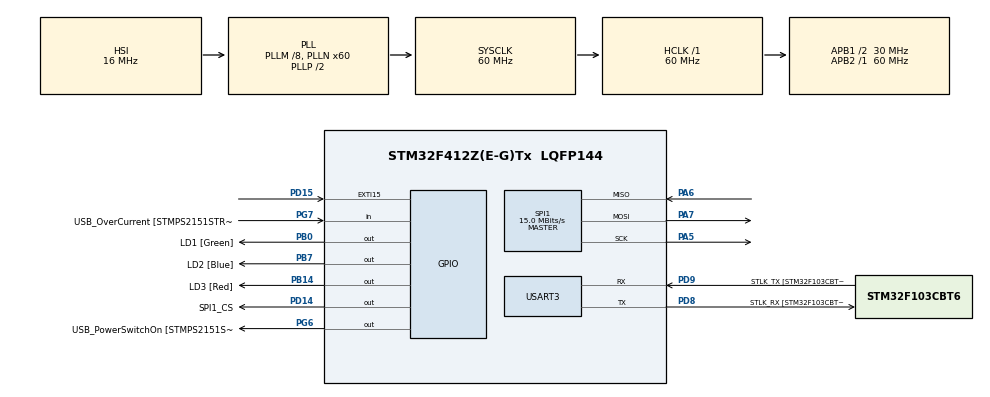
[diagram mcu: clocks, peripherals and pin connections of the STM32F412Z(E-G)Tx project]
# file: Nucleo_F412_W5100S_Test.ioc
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Dma.Request0=SPI1_RX
Dma.Request1=SPI1_TX
Dma.SPI1_RX.0.Direction=DMA_PERIPH_TO_MEMORY
Dma.SPI1_RX.0.FIFOMode=DMA_FIFOMODE_DISABLE
Dma.SPI1_RX.0.Instance=DMA2_Stream0
Dma.SPI1_RX.0.MemDataAlignment=DMA_MDATAALIGN_BYTE
Dma.SPI1_RX.0.MemInc=DMA_MINC_ENABLE
Dma.SPI1_RX.0.Mode=DMA_NORMAL
Dma.SPI1_RX.0.PeriphDataAlignment=DMA_PDATAALIGN_BYTE
Dma.SPI1_RX.0.PeriphInc=DMA_PINC_DISABLE
Dma.SPI1_RX.0.Priority=DMA_PRIORITY_VERY_HIGH
Dma.SPI1_TX.1.Direction=DMA_MEMORY_TO_PERIPH
Dma.SPI1_TX.1.FIFOMode=DMA_FIFOMODE_DISABLE
Dma.SPI1_TX.1.Instance=DMA2_Stream2
Dma.SPI1_TX.1.MemDataAlignment=DMA_MDATAALIGN_BYTE
Dma.SPI1_TX.1.MemInc=DMA_MINC_ENABLE
Dma.SPI1_TX.1.Mode=DMA_NORMAL
Dma.SPI1_TX.1.PeriphDataAlignment=DMA_PDATAALIGN_BYTE
Dma.SPI1_TX.1.PeriphInc=DMA_PINC_DISABLE
Dma.SPI1_TX.1.Priority=DMA_PRIORITY_VERY_HIGH
Mcu.Family=STM32F4
Mcu.Name=STM32F412Z(E-G)Tx
Mcu.Package=LQFP144
NVIC.DMA2_Stream0_IRQn=true\:0\:0\:false\:false\:true\:false\:true\:true
NVIC.DMA2_Stream2_IRQn=true\:0\:0\:false\:false\:true\:false\:true\:true
NVIC.EXTI15_10_IRQn=true\:0\:0\:false\:false\:true\:true\:true\:true
NVIC.PriorityGroup=NVIC_PRIORITYGROUP_4
NVIC.SPI1_IRQn=true\:0\:0\:false\:false\:true\:true\:true\:true
NVIC.USART3_IRQn=true\:0\:0\:false\:false\:true\:true\:true\:true
PA10.GPIO_Label=USB_ID
PA10.Signal=USB_OTG_FS_ID
PA11.GPIO_Label=USB_DM
PA11.Signal=USB_OTG_FS_DM
PA12.GPIO_Label=USB_DP
PA12.Signal=USB_OTG_FS_DP
PA13.GPIO_Label=TMS
PA13.Mode=Serial_Wire
PA13.Signal=SYS_JTMS-SWDIO
PA14.GPIO_Label=TCK
PA14.Mode=Serial_Wire
PA14.Signal=SYS_JTCK-SWCLK
PA5.Mode=Full_Duplex_Master
PA5.Signal=SPI1_SCK
PA6.Mode=Full_Duplex_Master
PA6.Signal=SPI1_MISO
PA7.Mode=Full_Duplex_Master
PA7.Signal=SPI1_MOSI
PA8.GPIO_Label=USB_SOF [TP1]
PA8.Signal=USB_OTG_FS_SOF
PA9.GPIO_Label=USB_VBUS
PA9.Signal=USB_OTG_FS_VBUS
PB0.GPIO_Label=LD1 [Green]
PB0.Signal=GPIO_Output
PB14.GPIO_Label=LD3 [Red]
PB14.GPIO_Speed=GPIO_SPEED_FREQ_LOW
PB14.Signal=GPIO_Output
PB3.GPIO_Label=SWO
PB3.Signal=SYS_JTDO-SWO
PB7.GPIO_Label=LD2 [Blue]
PB7.Signal=GPIO_Output
PC14-OSC32_IN.Mode=LSE-External-Oscillator
PC14-OSC32_IN.Signal=RCC_OSC32_IN
PC15-OSC32_OUT.Mode=LSE-External-Oscillator
PC15-OSC32_OUT.Signal=RCC_OSC32_OUT
PD14.GPIO_Label=SPI1_CS
PD14.GPIO_Speed=GPIO_SPEED_FREQ_VERY_HIGH
PD14.Signal=GPIO_Output
PD15.GPIO_ModeDefaultEXTI=GPIO_MODE_IT_FALLING
PD15.GPIO_PuPd=GPIO_PULLUP
PD15.Signal=GPXTI15
PD8.GPIO_Label=STLK_RX [STM32F103CBT6_PA3]
PD8.Mode=Asynchronous
PD8.Signal=USART3_TX
PD9.GPIO_Label=STLK_TX [STM32F103CBT6_PA2]
PD9.Mode=Asynchronous
PD9.Signal=USART3_RX
PG6.GPIO_Label=USB_PowerSwitchOn [STMPS2151STR_EN]
PG6.Signal=GPIO_Output
PG7.GPIO_Label=USB_OverCurrent [STMPS2151STR_FAULT]
PG7.Signal=GPIO_Input
PH0\ -\ OSC_IN.GPIO_Label=MCO
PH0\ -\ OSC_IN.Signal=RCC_OSC_IN
ProjectManager.HeapSize=0x200
ProjectManager.StackSize=0x400
ProjectManager.TargetToolchain=STM32CubeIDE
RCC.48MHZClocksFreq_Value=24000000
RCC.AHBFreq_Value=60000000
RCC.APB1CLKDivider=RCC_HCLK_DIV2
RCC.APB1Freq_Value=30000000
RCC.APB1TimFreq_Value=60000000
RCC.APB2Freq_Value=60000000
RCC.APB2TimFreq_Value=60000000
RCC.CSICalibrationValue=16
RCC.CortexFreq_Value=60000000
RCC.HCLKFreq_Value=60000000
RCC.HSE_VALUE=8000000
RCC.HSI_VALUE=16000000
RCC.PLL1_VCI_Range=RCC_PLL1VCIRANGE_3
RCC.PLL1_VCO_SEL=RCC_PLL1VCOWIDE
RCC.PLL2FRACN=0
RCC.PLL2_VCI_Range=RCC_PLL2VCIRANGE_2
RCC.PLL2_VCO_SEL=RCC_PLL2VCOWIDE
RCC.PLL3FRACN=0
RCC.PLL3_VCI_Range=RCC_PLL3VCIRANGE_3
RCC.PLL3_VCO_SEL=RCC_PLL3VCOWIDE
RCC.PLLFRACN=0
RCC.PLLM=8
RCC.PLLMUL=RCC_PLL_MUL9
RCC.PLLN=60
RCC.PLLQ=8
RCC.PRESCALERUSB=RCC_USBCLKSOURCE_PLL_DIV1_5
RCC.SYSCLKFreq_VALUE=60000000
RCC.SYSCLKSource=RCC_SYSCLKSOURCE_PLLCLK
RCC.SYSCLKSourceVirtual=RCC_SYSCLKSOURCE_PLLCLK
RCC.USBFreq_Value=15000000
RCC.VCOOutputFreq_Value=120000000
SPI1.BaudRatePrescaler=SPI_BAUDRATEPRESCALER_4
SPI1.CalculateBaudRate=15.0 MBits/s
SPI1.Direction=SPI_DIRECTION_2LINES
SPI1.Mode=SPI_MODE_MASTER
SPI1.VirtualType=VM_MASTER
USART3.VirtualMode=VM_ASYNC
board=NUCLEO-F412ZG

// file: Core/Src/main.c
/* USER CODE BEGIN Header */
/**
  ******************************************************************************
  * @file           : main.c
  * @brief          : Main program body
  ******************************************************************************
  * @attention
  *
  * Copyright (c) 2023 STMicroelectronics.
  * All rights reserved.
  *
  * This software is licensed under terms that can be found in the LICENSE file
  * in the root directory of this software component.
  * If no LICENSE file comes with this software, it is provided AS-IS.
  *
  ******************************************************************************
  */
/* USER CODE END Header */
#include "main.h"

/* USER CODE BEGIN Includes */
#include "loopback.h"
#include "wizchip_conf.h"

/* USER CODE END Includes */

/* USER CODE BEGIN PTD */
#define ETH_MAX_BUF_SIZE 2048
#define True_STD
#define SEND_SIZE 41820
/* USER CODE END PTD */

SPI_HandleTypeDef hspi1;
DMA_HandleTypeDef hdma_spi1_rx;
DMA_HandleTypeDef hdma_spi1_tx;

UART_HandleTypeDef huart3;

/* USER CODE BEGIN PV */
wiz_NetInfo defaultNetInfo = { .mac = {0x00,0x08,0xdc,0xff,0xee,0xdd},
							//.ip = {192,168,15,111},
							.ip = {192,168,11,111},
							.sn = {255,255,255,0},
							//.gw = {192,168,15,1},
							.gw = {192,168,11,1},
							.dns = {168, 126, 63, 1},
							.dhcp = NETINFO_STATIC};

unsigned char gServer_IP[4] = {192,168,15,7};
unsigned char ethBuf0[ETH_MAX_BUF_SIZE];
/* USER CODE END PV */

void SystemClock_Config(void);
static void MX_GPIO_Init(void);
static void MX_DMA_Init(void);
static void MX_USART3_UART_Init(void);
static void MX_SPI1_Init(void);
/* USER CODE BEGIN PFP */
uint8_t rxData;
uint8_t send_flag = 0;
uint8_t ETH_INT_Flag = 0;

uint8_t rx_buffer[2048]= {0,};
int rx_index = 0;
uint8_t rx_flag =0;
#ifdef KEIL
     #ifdef __GNUC__
     //With GCC, small printf (option LD Linker->Libraries->Small printf
     //set to 'Yes') calls __io_putchar()
         #define PUTCHAR_PROTOTYPE int __io_putchar(int ch)
		#else
				 #define PUTCHAR_PROTOTYPE int fputc(int ch, FILE *f)
		#endif /* __GNUC__*/
#endif

#ifdef True_STD
	int _write(int fd, char *str, int len)
	{
		for(int i=0; i<len; i++)
		{
			HAL_UART_Transmit(&huart3, (uint8_t *)&str[i], 1, 0xFFFF);
		}
		return len;
	}
#endif

void HAL_UART_RxCpltCallback(UART_HandleTypeDef *huart) {

    /*
        This will be called once data is received successfully,
        via interrupts.
    */

     /*
       loop back received data
     */
     HAL_UART_Receive_IT(&huart3, &rxData, 1);
     if (rxData == '\n')
	 {
	   if (rx_buffer[rx_index - 1] == '\r')
	   {
		 rx_index--;
		 rx_flag = 1;
		 rx_buffer[rx_index] = 0;
	   }
	   else
	   {
		 rx_index = 0;
		 HAL_UART_Transmit(&huart3, "not support format\r\n", 20, 1000);
	   }
	 }
	 else if (rxData == 0x08) // back space
	 {
	   rx_index--;
	 }
	 else
	 {
	   rx_buffer[rx_index++] = rxData;
	 }
     HAL_UART_Transmit(&huart3, &rxData, 1, 1000);
}

void HAL_GPIO_EXTI_Callback(uint16_t GPIO_Pin)
{
	if(GPIO_Pin == GPIO_PIN_15)
	{
		ETH_INT_Flag = 1;
	}
}
void csEnable(void)
{
	HAL_GPIO_WritePin(SPI1_CS_GPIO_Port, SPI1_CS_Pin, GPIO_PIN_RESET);
}

void csDisable(void)
{
	HAL_GPIO_WritePin(SPI1_CS_GPIO_Port, SPI1_CS_Pin, GPIO_PIN_SET);
}

void spiWriteByte(uint8_t tx)
{
	uint8_t rx;
  while (HAL_SPI_GetState(&hspi1) != HAL_SPI_STATE_READY);
	HAL_SPI_TransmitReceive(&hspi1, &tx, &rx, 1, 10);
  while (HAL_SPI_GetState(&hspi1) == HAL_SPI_STATE_BUSY_TX);

}

uint8_t spiReadByte(void)
{
	uint8_t rx = 0, tx = 0xFF;
  while (HAL_SPI_GetState(&hspi1) != HAL_SPI_STATE_READY);
	HAL_SPI_TransmitReceive(&hspi1, &tx, &rx, 1, 10);
  while (HAL_SPI_GetState(&hspi1) == HAL_SPI_STATE_BUSY_RX);
	return rx;
}
static void wizchip_read_burst(uint8_t *pBuf, uint16_t len)
{
#if 1
	HAL_SPI_Receive_DMA(&hspi1, pBuf, len);
  while (HAL_DMA_GetState(hspi1.hdmarx) == HAL_DMA_STATE_BUSY);
  while (HAL_SPI_GetState(&hspi1) == HAL_SPI_STATE_BUSY_RX);
#else
  uint8_t tx[SEND_SIZE] = {0,};
    while (HAL_SPI_GetState(&hspi1) != HAL_SPI_STATE_READY);
  	HAL_SPI_TransmitReceive(&hspi1, &tx, pBuf, len, 2);
    while (HAL_SPI_GetState(&hspi1) == HAL_SPI_STATE_BUSY_RX);
#endif

	//return;
}

static void wizchip_write_burst(uint8_t *pBuf, uint16_t len)
{
#if 1
  HAL_SPI_Transmit_DMA(&hspi1, pBuf, len);
  while (HAL_DMA_GetState(hspi1.hdmatx) == HAL_DMA_STATE_BUSY);
  while (HAL_SPI_GetState(&hspi1) == HAL_SPI_STATE_BUSY_TX);
#else
  uint8_t rx[SEND_SIZE] = {0,};
    while (HAL_SPI_GetState(&hspi1) != HAL_SPI_STATE_READY);
  	HAL_SPI_TransmitReceive(&hspi1, pBuf, &rx, len, 2);
    while (HAL_SPI_GetState(&hspi1) == HAL_SPI_STATE_BUSY_RX);
#endif

	//return;
}
void print_network_information()
{
	wiz_NetInfo gWIZNETINFO;
	wizchip_getnetinfo(&gWIZNETINFO);

	printf("Mac address: %02x:%02x:%02x:%02x:%02x:%02x\r\n",gWIZNETINFO.mac[0],gWIZNETINFO.mac[1],gWIZNETINFO.mac[2],gWIZNETINFO.mac[3],gWIZNETINFO.mac[4],gWIZNETINFO.mac[5]);
	printf("IP address : %d.%d.%d.%d\r\n",gWIZNETINFO.ip[0],gWIZNETINFO.ip[1],gWIZNETINFO.ip[2],gWIZNETINFO.ip[3]);
	printf("SM Mask	   : %d.%d.%d.%d\r\n",gWIZNETINFO.sn[0],gWIZNETINFO.sn[1],gWIZNETINFO.sn[2],gWIZNETINFO.sn[3]);
	printf("Gate way   : %d.%d.%d.%d\r\n",gWIZNETINFO.gw[0],gWIZNETINFO.gw[1],gWIZNETINFO.gw[2],gWIZNETINFO.gw[3]);
	printf("DNS Server : %d.%d.%d.%d\r\n",gWIZNETINFO.dns[0],gWIZNETINFO.dns[1],gWIZNETINFO.dns[2],gWIZNETINFO.dns[3]);
}

void Display_Net_Conf()
{
	uint8_t tmpstr[6] = {0,};
	wiz_NetInfo gWIZNETINFO;

	ctlnetwork(CN_GET_NETINFO, (void*) &gWIZNETINFO);
	ctlwizchip(CW_GET_ID,(void*)tmpstr);

	// Display Network Information
	if(gWIZNETINFO.dhcp == NETINFO_DHCP) printf("\r\n===== %s NET CONF : DHCP =====\r\n",(char*)tmpstr);
		else printf("\r\n===== %s NET CONF : Static =====\r\n",(char*)tmpstr);

	printf("\r\nMAC: %02X:%02X:%02X:%02X:%02X:%02X\r\n", gWIZNETINFO.mac[0], gWIZNETINFO.mac[1], gWIZNETINFO.mac[2], gWIZNETINFO.mac[3], gWIZNETINFO.mac[4], gWIZNETINFO.mac[5]);
	printf("IP: %d.%d.%d.%d\r\n", gWIZNETINFO.ip[0], gWIZNETINFO.ip[1], gWIZNETINFO.ip[2], gWIZNETINFO.ip[3]);
	printf("GW: %d.%d.%d.%d\r\n", gWIZNETINFO.gw[0], gWIZNETINFO.gw[1], gWIZNETINFO.gw[2], gWIZNETINFO.gw[3]);
	printf("SN: %d.%d.%d.%d\r\n", gWIZNETINFO.sn[0], gWIZNETINFO.sn[1], gWIZNETINFO.sn[2], gWIZNETINFO.sn[3]);
	printf("DNS: %d.%d.%d.%d\r\n", gWIZNETINFO.dns[0], gWIZNETINFO.dns[1], gWIZNETINFO.dns[2], gWIZNETINFO.dns[3]);
}
void W5100S_Initialze(void)
{
	intr_kind temp;
	//unsigned char W5100S_AdrSet[2][4] = {{2,2,2,2},{2,2,2,2}};
  unsigned char W5100S_AdrSet[2][4] = {{8,0,0,0},{8,0,0,0}};
	csDisable();
	/*
	 */
	reg_wizchip_cs_cbfunc(csEnable, csDisable);
	reg_wizchip_spi_cbfunc(spiReadByte,spiWriteByte);
  reg_wizchip_spiburst_cbfunc(wizchip_read_burst, wizchip_write_burst);
  //reg_wizchip_spi_cbfunc(spiReadByte, spiWriteByte, wizchip_read_burst, wizchip_write_burst);
	temp = IK_DEST_UNREACH;

	if(ctlwizchip(CW_INIT_WIZCHIP,(void*)W5100S_AdrSet) == -1)
	{
		printf("W5100S initialized fail.\r\n");
	}

	if(ctlwizchip(CW_SET_INTRMASK,&temp) == -1)
	{
		printf("W5100S interrupt\r\n");
	}

	do{//check phy status.
		if(ctlwizchip(CW_GET_PHYLINK,(void*)&temp) == -1){
			printf("Unknown PHY link status.\r\n");
		}
	}while(temp == PHY_LINK_OFF);

}
uint32_t get_time(void)
{
    return HAL_GetTick();
}
uint16_t CLI_Process(void);
/* USER CODE END PFP */

int main(void)
{
  /* USER CODE BEGIN 1 */
  uint8_t u_sn = 0, t_sn = 1;
  int32_t ret = 0;
  uint8_t temp_ret1 = 0, temp_ret2 = 0;
  uint16_t port = 5001;
  uint8_t send_data[SEND_SIZE]={0,};
  uint8_t recv_data[SEND_SIZE] = {0,};
  uint16_t cnt = 0;
  unsigned char destip[4] = {192,168,15,7};
  uint16_t destport = 6000, t_d_port = 6001;
  uint8_t repeat_cnt = 3;
  uint32_t time1 = 0, time2 = 0;
  uint16_t send_size_1 = 0, recv_size = 0;
  uint16_t max_buf_size = 0, sentsize = 0, temp_send_size = 0;
  uint8_t d_mac[6]={0,};
  uint8_t null_mac[6]={0xff,};
  uint8_t set_mac[6] ={1, 2,3,4,5,6};
  uint8_t ret_8 = 0, set_d = 0;
  /* USER CODE END 1 */

  /* MCU Configuration--------------------------------------------------------*/

  /* Reset of all peripherals, Initializes the Flash interface and the Systick. */
  HAL_Init();

  /* Configure the system clock */
  SystemClock_Config();

  /* Initialize all configured peripherals */
  MX_GPIO_Init();
  MX_DMA_Init();
  MX_USART3_UART_Init();
  MX_SPI1_Init();
  /* USER CODE BEGIN 2 */
  printf("W5100S test \r\n");
  HAL_UART_Receive_IT(&huart3, &rxData, 1);

  W5100S_Initialze();
  wizchip_setnetinfo(&defaultNetInfo);
  //Display_Net_Conf();
  print_network_information();

  temp_ret1 = getIR();
  temp_ret2 = getIMR();
  printf("1. IR Reg %02x IMR Reg %02x\r\n", temp_ret1, temp_ret2);
  setIMR(0x01); //socket 0 enable
  temp_ret1 = getIR();
  temp_ret2 = getIMR();
  printf("2. IR Reg %02x IMR Reg %02x\r\n", temp_ret1, temp_ret2);
  temp_ret1 = getSn_IR(u_sn);
  temp_ret2 = getSn_IMR(u_sn);
  printf("1. sn : %d IR Reg %02x IMR Reg %02x\r\n",u_sn, temp_ret1, temp_ret2);

  setSn_IMR(u_sn, 0x04); //->RECV INT,  SENDOK|TIMEOUT|RECV|DISCON|CON|
  setSn_IR(u_sn, 0x04);
  temp_ret1 = getSn_IR(u_sn);
  temp_ret2 = getSn_IMR(u_sn);
  printf("2. sn : %d IR Reg %02x IMR Reg %02x\r\n",u_sn, temp_ret1, temp_ret2);
#if 0
  setSn_DHAR(u_sn, set_mac);
  getSn_DHAR(u_sn, d_mac);
  printf("1. get D MAC : %02x:%02x:%02x:%02x:%02x:%02x \r\n", d_mac[0], d_mac[1], d_mac[2], d_mac[3], d_mac[4], d_mac[5]);
#endif

  if((ret = socket(u_sn, Sn_MR_UDP, port, 0x00)) != u_sn)
    printf("socket open Error 0x%02x\r\n", ret);
  send_data[0] ='z';
  send_data[1] ='0';
  printf("socket open port : %d \r\n", port);
  printf("Dest IP : %d.%d.%d.%d Port : %d\r\n", destip[0], destip[1], destip[2], destip[3], destport);
  for(cnt = 2; cnt < SEND_SIZE; cnt ++)
  {
    send_data[cnt] = 0x41 + (cnt % 25);
  }
  printf("UDP Send Ready port %d \r\n", port);
  printf("plead input 1 send start\r\n");
  max_buf_size = getSn_TxMAX(u_sn);
  send_size_1 = max_buf_size - (max_buf_size % 1472);
  printf("1 send buf size = %d\r\n", send_size_1);
#if 0
  setSn_DHAR(u_sn, set_mac);
    getSn_DHAR(u_sn, d_mac);
    printf("2. get D MAC : %02x:%02x:%02x:%02x:%02x:%02x \r\n", d_mac[0], d_mac[1], d_mac[2], d_mac[3], d_mac[4], d_mac[5]);
#endif

  /* USER CODE END 2 */

  /* Infinite loop */
  /* USER CODE BEGIN WHILE */
  while (1)
  {
    if(rx_flag == 1)
    {
      CLI_Process();
      rx_flag = 0;
    }
    //if(ETH_INT_Flag == 1)
    {

      ETH_INT_Flag = 0;
#if 0
      temp_ret1 = getSn_IR(u_sn);
      printf("1 sn: %d snIR:%02x \r\n", u_sn, temp_ret1);

      setSn_IR(u_sn, temp_ret1);
      temp_ret1 = getSn_IR(u_sn);
      printf("2 sn: %d snIR:%02x \r\n", u_sn, temp_ret1);
#endif
      if((recv_size = getSn_RX_RSR(u_sn)) > 0)
      {
        if(recv_size > SEND_SIZE) recv_size = SEND_SIZE;
        ret = recvfrom(u_sn, recv_data, recv_size, destip, (uint16_t*)&destport);
        if(ret <= 0)
        {
          printf("%d: recvfrom error. %ld\r\n",u_sn,ret);
          return ret;
        }
        printf("getSLRTR() = %08x\r\n", getSLRTR());
        printf("getSLRCR() = %04x\r\n", getSLRCR());
        ret_8 = getSLIMR();
        printf("get SLIMR = %04x\r\n set 0x02 \r\n", ret_8);
        setSLIMR(0x06);
        setSLPIPR(destip);
        setSLCR(0x02);
        printf("send arp SLCR = 0x02 \r\n", ret_8);
        while(getSLCR() != 0x00);

        ret_8 = getSLIR();
        printf("getSLIR() = %04x\r\n", ret_8);
        getSLPHAR(d_mac);
        printf("recv arp D MAC : %02x:%02x:%02x:%02x:%02x:%02x \r\n", d_mac[0], d_mac[1], d_mac[2], d_mac[3], d_mac[4], d_mac[5]);
        setSn_DHAR(u_sn, d_mac);
        setSLIR(0x00);
        setSLIMR(0x00);
        //getSLPHAR(slphar)
        getSn_DHAR(u_sn, d_mac);
        printf("recv 1 get D MAC : %02x:%02x:%02x:%02x:%02x:%02x \r\n", d_mac[0], d_mac[1], d_mac[2], d_mac[3], d_mac[4], d_mac[5]);
        recv_data[recv_size] = 0;
        printf("recv[%d]:%s\r\n",recv_size, recv_data);
        //printf("recv size: %d , Dest IP : %d.%d.%d.%d Port : %d\r\n",recv_size , destip[0], destip[1], destip[2], destip[3], destport);

        recv_size = (uint16_t) ret;
        sentsize = 0;
        while(sentsize != recv_size)
        {
          ret = sendto(u_sn, recv_data+sentsize, recv_size-sentsize, destip, destport);
          if(ret < 0)
          {
            printf("%d: sendto error. %ld\r\n",u_sn,ret);
            return ret;
          }
          sentsize += ret; // Don't care SOCKERR_BUSY, because it is zero.
        }
        getSn_DHAR(u_sn, d_mac);
        printf("send get D MAC : %02x:%02x:%02x:%02x:%02x:%02x \r\n", d_mac[0], d_mac[1], d_mac[2], d_mac[3], d_mac[4], d_mac[5]);
      }
#if 0
      setSn_IMR(u_sn, 0x04); //->RECV INT,  SENDOK|TIMEOUT|RECV|DISCON|CON|
      setSn_IR(u_sn, 0x04);
      temp_ret1 = getSn_IR(u_sn);
      temp_ret2 = getSn_IMR(u_sn);
      printf("re. sn : %d IR Reg %02x IMR Reg %02x\r\n",u_sn, temp_ret1, temp_ret2);
      temp_ret1 = getSn_IR(u_sn);
      setSn_IR(u_sn, temp_ret1);
      temp_ret1 = getSn_IR(u_sn);
      printf("re sn: %d snIR:%02x \r\n", u_sn, temp_ret1);
#endif
    }
    #if 0
    if((recv_size = getSn_RX_RSR(u_sn)) > 0)
    {
      if(recv_size > SEND_SIZE) recv_size = SEND_SIZE;
      ret = recvfrom(u_sn, recv_data, recv_size, destip, (uint16_t*)&destport);
      if(ret <= 0)
      {
        printf("%d: recvfrom error. %ld\r\n",u_sn,ret);
        return ret;
      }
      //printf("recv size: %d , Dest IP : %d.%d.%d.%d Port : %d\r\n",recv_size , destip[0], destip[1], destip[2], destip[3], destport);
      recv_size = (uint16_t) ret;
      sentsize = 0;
      while(sentsize != recv_size)
      {
        ret = sendto(u_sn, recv_data+sentsize, recv_size-sentsize, destip, destport);
        if(ret < 0)
        {
          printf("%d: sendto error. %ld\r\n",u_sn,ret);
          return ret;
        }
        sentsize += ret; // Don't care SOCKERR_BUSY, because it is zero.
      }

    }

    ret = loopback_tcpc(t_sn, recv_data, destip, t_d_port);
    if(ret != 0)
      printf("TCP Clent Loop back : %ld\r\n", (uint16_t)ret);
#endif
    if(send_flag == 1)
    {
      time1 = get_time();
      printf("UDP Send start \r\n");
      for(cnt = 0; cnt < repeat_cnt; cnt++)
      {
        send_data[1] ='0'+ cnt;
        #if 0
        ret = sendto(u_sn, send_data, SEND_SIZE, destip, destport);
        if(ret < 0)
        {
          printf("[%d] : sendto error. %ld\r\n",u_sn ,ret);
        }
        #endif
        sentsize = 0;
        while(sentsize != SEND_SIZE)
        {
            temp_send_size = (SEND_SIZE-sentsize) > send_size_1 ? send_size_1 : (SEND_SIZE-sentsize);
            ret = sendto(u_sn, send_data+sentsize, temp_send_size, destip, destport);
            if(ret < 0)
            {
              printf("%d: sendto error. %ld\r\n",u_sn,ret);
            }
            else
              sentsize += ret; // Don't care SOCKERR_BUSY, because it is zero.
        }
      }
      send_flag = 0;
      time2 = get_time();
      printf("sned finished count : %d time : %ld one cnt time : %ld\r\n", repeat_cnt, (uint16_t)(time2 - time1), (uint16_t)((time2-time1)/repeat_cnt));
    }
	  //loopback_tcps(0,ethBuf0,5000);
    /* USER CODE END WHILE */

  }
}

void SystemClock_Config(void)
{
  RCC_OscInitTypeDef RCC_OscInitStruct = {0};
  RCC_ClkInitTypeDef RCC_ClkInitStruct = {0};

  /** Configure the main internal regulator output voltage
  */
  __HAL_RCC_PWR_CLK_ENABLE();
  __HAL_PWR_VOLTAGESCALING_CONFIG(PWR_REGULATOR_VOLTAGE_SCALE1);

  /** Initializes the RCC Oscillators according to the specified parameters
  * in the RCC_OscInitTypeDef structure.
  */
  RCC_OscInitStruct.OscillatorType = RCC_OSCILLATORTYPE_HSI;
  RCC_OscInitStruct.HSIState = RCC_HSI_ON;
  RCC_OscInitStruct.HSICalibrationValue = RCC_HSICALIBRATION_DEFAULT;
  RCC_OscInitStruct.PLL.PLLState = RCC_PLL_ON;
  RCC_OscInitStruct.PLL.PLLSource = RCC_PLLSOURCE_HSI;
  RCC_OscInitStruct.PLL.PLLM = 8;
  RCC_OscInitStruct.PLL.PLLN = 60;
  RCC_OscInitStruct.PLL.PLLP = RCC_PLLP_DIV2;
  RCC_OscInitStruct.PLL.PLLQ = 8;
  RCC_OscInitStruct.PLL.PLLR = 2;
  if (HAL_RCC_OscConfig(&RCC_OscInitStruct) != HAL_OK)
  {
    Error_Handler();
  }

  /** Initializes the CPU, AHB and APB buses clocks
  */
  RCC_ClkInitStruct.ClockType = RCC_CLOCKTYPE_HCLK|RCC_CLOCKTYPE_SYSCLK
                              |RCC_CLOCKTYPE_PCLK1|RCC_CLOCKTYPE_PCLK2;
  RCC_ClkInitStruct.SYSCLKSource = RCC_SYSCLKSOURCE_PLLCLK;
  RCC_ClkInitStruct.AHBCLKDivider = RCC_SYSCLK_DIV1;
  RCC_ClkInitStruct.APB1CLKDivider = RCC_HCLK_DIV2;
  RCC_ClkInitStruct.APB2CLKDivider = RCC_HCLK_DIV1;

  if (HAL_RCC_ClockConfig(&RCC_ClkInitStruct, FLASH_LATENCY_1) != HAL_OK)
  {
    Error_Handler();
  }
}

static void MX_SPI1_Init(void)
{

  /* SPI1 parameter configuration*/
  hspi1.Instance = SPI1;
  hspi1.Init.Mode = SPI_MODE_MASTER;
  hspi1.Init.Direction = SPI_DIRECTION_2LINES;
  hspi1.Init.DataSize = SPI_DATASIZE_8BIT;
  hspi1.Init.CLKPolarity = SPI_POLARITY_LOW;
  hspi1.Init.CLKPhase = SPI_PHASE_1EDGE;
  hspi1.Init.NSS = SPI_NSS_SOFT;
  hspi1.Init.BaudRatePrescaler = SPI_BAUDRATEPRESCALER_4;
  hspi1.Init.FirstBit = SPI_FIRSTBIT_MSB;
  hspi1.Init.TIMode = SPI_TIMODE_DISABLE;
  hspi1.Init.CRCCalculation = SPI_CRCCALCULATION_DISABLE;
  hspi1.Init.CRCPolynomial = 10;
  if (HAL_SPI_Init(&hspi1) != HAL_OK)
  {
    Error_Handler();
  }

}

static void MX_USART3_UART_Init(void)
{

  huart3.Instance = USART3;
  huart3.Init.BaudRate = 115200;
  huart3.Init.WordLength = UART_WORDLENGTH_8B;
  huart3.Init.StopBits = UART_STOPBITS_1;
  huart3.Init.Parity = UART_PARITY_NONE;
  huart3.Init.Mode = UART_MODE_TX_RX;
  huart3.Init.HwFlowCtl = UART_HWCONTROL_NONE;
  huart3.Init.OverSampling = UART_OVERSAMPLING_16;
  if (HAL_UART_Init(&huart3) != HAL_OK)
  {
    Error_Handler();
  }

}

static void MX_DMA_Init(void)
{

  /* DMA controller clock enable */
  __HAL_RCC_DMA2_CLK_ENABLE();

  /* DMA interrupt init */
  /* DMA2_Stream0_IRQn interrupt configuration */
  HAL_NVIC_SetPriority(DMA2_Stream0_IRQn, 0, 0);
  HAL_NVIC_EnableIRQ(DMA2_Stream0_IRQn);
  /* DMA2_Stream2_IRQn interrupt configuration */
  HAL_NVIC_SetPriority(DMA2_Stream2_IRQn, 0, 0);
  HAL_NVIC_EnableIRQ(DMA2_Stream2_IRQn);

}

static void MX_GPIO_Init(void)
{
  GPIO_InitTypeDef GPIO_InitStruct = {0};

  /* GPIO Ports Clock Enable */
  __HAL_RCC_GPIOC_CLK_ENABLE();
  __HAL_RCC_GPIOH_CLK_ENABLE();
  __HAL_RCC_GPIOA_CLK_ENABLE();
  __HAL_RCC_GPIOB_CLK_ENABLE();
  __HAL_RCC_GPIOD_CLK_ENABLE();
  __HAL_RCC_GPIOG_CLK_ENABLE();

  /*Configure GPIO pin Output Level */
  HAL_GPIO_WritePin(GPIOB, LD1_Pin|LD3_Pin|LD2_Pin, GPIO_PIN_RESET);

  /*Configure GPIO pin Output Level */
  HAL_GPIO_WritePin(SPI1_CS_GPIO_Port, SPI1_CS_Pin, GPIO_PIN_RESET);

  /*Configure GPIO pin Output Level */
  HAL_GPIO_WritePin(USB_PowerSwitchOn_GPIO_Port, USB_PowerSwitchOn_Pin, GPIO_PIN_RESET);

  /*Configure GPIO pins : LD1_Pin LD3_Pin LD2_Pin */
  GPIO_InitStruct.Pin = LD1_Pin|LD3_Pin|LD2_Pin;
  GPIO_InitStruct.Mode = GPIO_MODE_OUTPUT_PP;
  GPIO_InitStruct.Pull = GPIO_NOPULL;
  GPIO_InitStruct.Speed = GPIO_SPEED_FREQ_LOW;
  HAL_GPIO_Init(GPIOB, &GPIO_InitStruct);

  /*Configure GPIO pin : SPI1_CS_Pin */
  GPIO_InitStruct.Pin = SPI1_CS_Pin;
  GPIO_InitStruct.Mode = GPIO_MODE_OUTPUT_PP;
  GPIO_InitStruct.Pull = GPIO_NOPULL;
  GPIO_InitStruct.Speed = GPIO_SPEED_FREQ_VERY_HIGH;
  HAL_GPIO_Init(SPI1_CS_GPIO_Port, &GPIO_InitStruct);

  /*Configure GPIO pin : PD15 */
  GPIO_InitStruct.Pin = GPIO_PIN_15;
  GPIO_InitStruct.Mode = GPIO_MODE_IT_FALLING;
  GPIO_InitStruct.Pull = GPIO_PULLUP;
  HAL_GPIO_Init(GPIOD, &GPIO_InitStruct);

  /*Configure GPIO pin : USB_PowerSwitchOn_Pin */
  GPIO_InitStruct.Pin = USB_PowerSwitchOn_Pin;
  GPIO_InitStruct.Mode = GPIO_MODE_OUTPUT_PP;
  GPIO_InitStruct.Pull = GPIO_NOPULL;
  GPIO_InitStruct.Speed = GPIO_SPEED_FREQ_LOW;
  HAL_GPIO_Init(USB_PowerSwitchOn_GPIO_Port, &GPIO_InitStruct);

  /*Configure GPIO pin : USB_OverCurrent_Pin */
  GPIO_InitStruct.Pin = USB_OverCurrent_Pin;
  GPIO_InitStruct.Mode = GPIO_MODE_INPUT;
  GPIO_InitStruct.Pull = GPIO_NOPULL;
  HAL_GPIO_Init(USB_OverCurrent_GPIO_Port, &GPIO_InitStruct);

  /*Configure GPIO pins : USB_SOF_Pin USB_ID_Pin USB_DM_Pin USB_DP_Pin */
  GPIO_InitStruct.Pin = USB_SOF_Pin|USB_ID_Pin|USB_DM_Pin|USB_DP_Pin;
  GPIO_InitStruct.Mode = GPIO_MODE_AF_PP;
  GPIO_InitStruct.Pull = GPIO_NOPULL;
  GPIO_InitStruct.Speed = GPIO_SPEED_FREQ_VERY_HIGH;
  GPIO_InitStruct.Alternate = GPIO_AF10_OTG_FS;
  HAL_GPIO_Init(GPIOA, &GPIO_InitStruct);

  /* EXTI interrupt init*/
  HAL_NVIC_SetPriority(EXTI15_10_IRQn, 0, 0);
  HAL_NVIC_EnableIRQ(EXTI15_10_IRQn);

}

/* USER CODE BEGIN 4 */
uint16_t CLI_Process(void)
{
  uint16_t mode = 0;
  printf("serial recv : [%d] %s\r\n", rx_index, rx_buffer);
  if (strncmp((const char *)rx_buffer, (const char *)"help", 4) == 0) // spi setting
  {
	  printf("help\r\n");
  }
  else if (strncmp((const char *)rx_buffer, (const char *)"stop", 4) == 0) // spi setting
  {
	  printf("stop\r\n");
	  close(0);
    mode = 4;
  }
  else if (strncmp((const char *)rx_buffer, (const char *)"1", 1) == 0) // spi setting
  {
	  printf("send udp flag\r\n");
    mode = 1;
    send_flag = 1;
  }
  rx_index = 0;
  HAL_UART_Transmit(&huart3, (uint8_t *)">", 1, 0xFFFF);
  return mode;
}
/* USER CODE END 4 */

void Error_Handler(void)
{
  __disable_irq();
  while (1)
  {
  }
}
